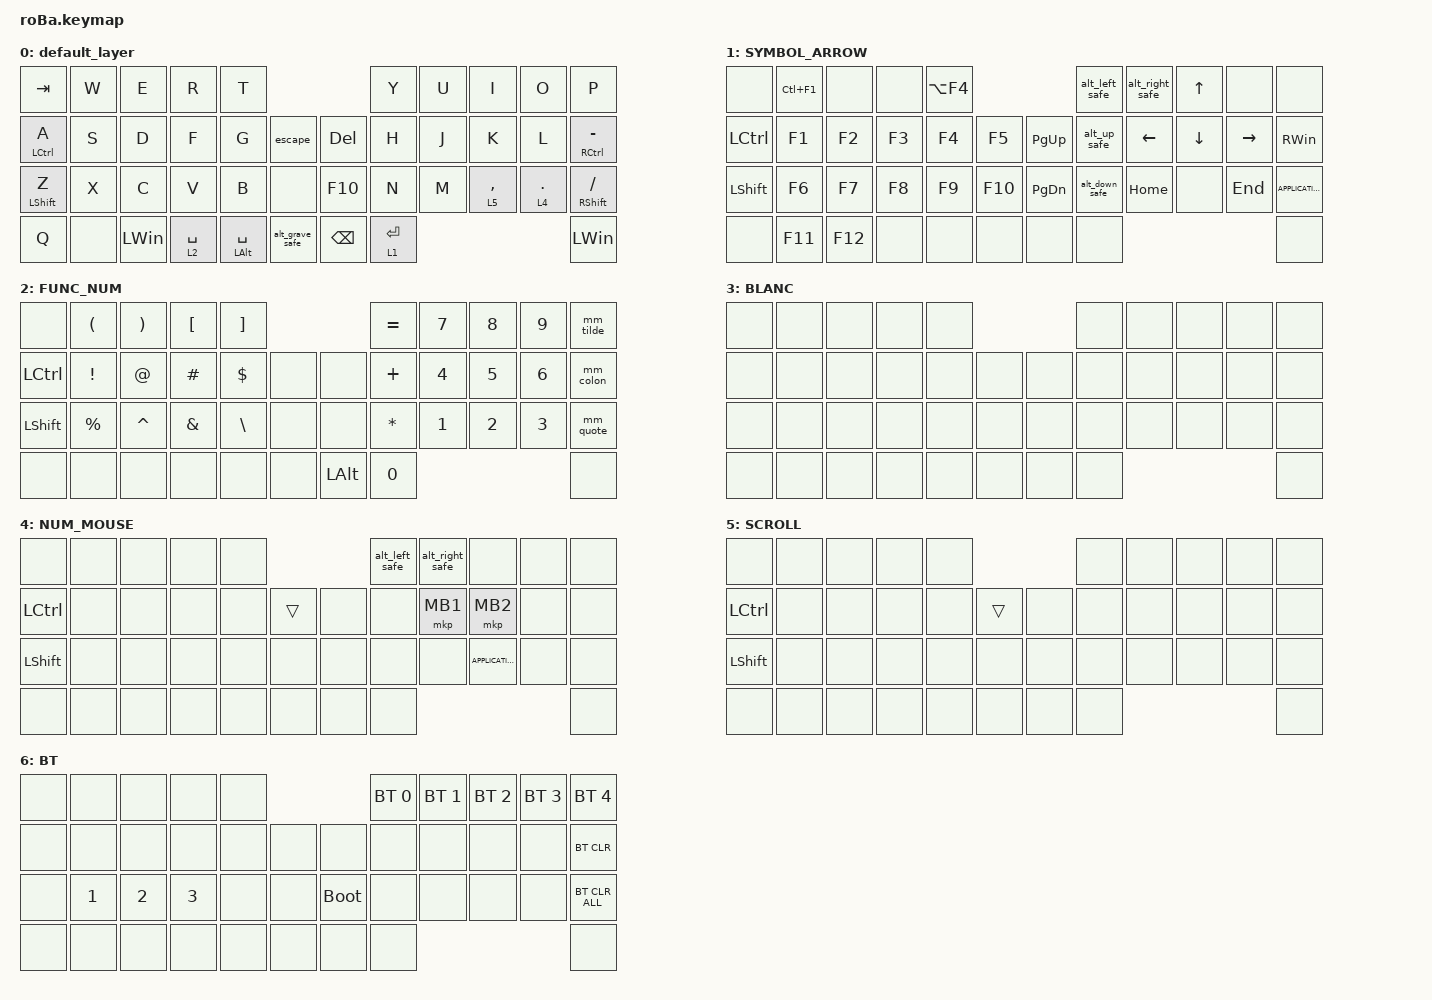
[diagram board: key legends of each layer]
#include <dt-bindings/zmk/input_transform.h>
#include <zephyr/dt-bindings/input/input-event-codes.h>
#include <behaviors.dtsi>
#include <dt-bindings/zmk/bt.h>
#include <dt-bindings/zmk/keys.h>
#include <dt-bindings/zmk/pointing.h>

/ {
    zip_xy_scaler: zip_xy_scaler {
        compatible = "zmk,input-processor-scaler";
        #input-processor-cells = <2>;
        type = <INPUT_EV_REL>;
        codes = <INPUT_REL_X INPUT_REL_Y>;
    };
};

&mt {
    flavor = "balanced";
    tapping-term-ms = <175>;
    quick-tap-ms = <0>;
};

&lt {
    flavor = "balanced";
    tapping-term-ms = <175>;
    quick-tap-ms = <0>;
};

&trackball {
    // automouse-layer = <4>;

    scroll-layers = <5>;
};

&trackball_listener {
    // &zip_xy_scaler の後ろにある数値 <分子 分母> で速度を調整できます。

    input-processors = <&zip_xy_scaler 5 4>;
};

/ {
    combos {
        compatible = "zmk,combos";

        context_menu {
            bindings = <&kp K_CONTEXT_MENU>;
            key-positions = <31 32>;
        };

        left_click {
            bindings = <&mkp MB1>;
            key-positions = <32 18>;
        };

        right_click {
            bindings = <&mkp MB2>;
            key-positions = <19 32>;
        };
    };

    macros {
        to_layer_0: to_layer_0 {
            compatible = "zmk,behavior-macro-one-param";
            #binding-cells = <1>;
            bindings = <&to 1 &macro_param_1to1 &kp MACRO_PLACEHOLDER>;
            label = "TO_LAYER_0";
        };

        KP_00: KP_00 {
            compatible = "zmk,behavior-macro";
            #binding-cells = <0>;
            bindings = <&kp N0 &kp N0>;
            label = "KP_00";
        };

        //「Alt+↓」のメニュー誤作動防止マクロ

        alt_down_safe: alt_down_safe {
            label = "alt_down_safe";
            compatible = "zmk,behavior-macro";
            #binding-cells = <0>;
            wait-ms = <0>;
            tap-ms = <10>;
            bindings =
                <&macro_press>,
                <&kp LALT>,
                <&macro_tap>,
                <&kp DOWN>,
                <&macro_pause_for_release>,
                <&macro_tap>,
                <&kp F24>,
                <&macro_release>,
                <&kp LALT>;
        };

        //「Alt+↑」のメニュー誤作動防止マクロ

        alt_up_safe: alt_up_safe {
            label = "alt_up_safe";
            compatible = "zmk,behavior-macro";
            #binding-cells = <0>;
            wait-ms = <0>;
            tap-ms = <10>;
            bindings =
                <&macro_press>,
                <&kp LALT>,
                <&macro_tap>,
                <&kp UP>,
                <&macro_pause_for_release>,
                <&macro_tap>,
                <&kp F24>,
                <&macro_release>,
                <&kp LALT>;
        };

        //「Alt+←」のメニュー誤作動防止マクロ

        alt_left_safe: alt_left_safe {
            label = "alt_left_safe";
            compatible = "zmk,behavior-macro";
            #binding-cells = <0>;
            wait-ms = <0>;
            tap-ms = <10>;
            bindings =
                <&macro_press>,
                <&kp LALT>,
                <&macro_tap>,
                <&kp LEFT>,
                <&macro_pause_for_release>,
                <&macro_tap>,
                <&kp F24>,
                <&macro_release>,
                <&kp LALT>;
        };

        //「Alt+→」のメニュー誤作動防止マクロ

        alt_right_safe: alt_right_safe {
            label = "alt_right_safe";
            compatible = "zmk,behavior-macro";
            #binding-cells = <0>;
            wait-ms = <0>;
            tap-ms = <10>;
            bindings =
                <&macro_press>,
                <&kp LALT>,
                <&macro_tap>,
                <&kp RIGHT>,
                <&macro_pause_for_release>,
                <&macro_tap>,
                <&kp F24>,
                <&macro_release>,
                <&kp LALT>;
        };

        //「Alt+`」のメニュー誤作動防止マクロ（US配列でのIME切り替え用）

        alt_grave_safe: alt_grave_safe {
            label = "alt_grave_safe";
            compatible = "zmk,behavior-macro";
            #binding-cells = <0>;
            wait-ms = <0>;
            tap-ms = <10>;
            bindings =
                <&macro_press>,
                <&kp LALT>,
                <&macro_tap>,
                <&kp GRAVE>,
                <&macro_pause_for_release>,
                <&macro_tap>,
                <&kp F24>,
                <&macro_release>,
                <&kp LALT>;
        };
    };

    behaviors {
        lt_to_layer_0: lt_to_layer_0 {
            compatible = "zmk,behavior-hold-tap";
            label = "LAYER_TAP_TO_0";
            bindings = <&mo>, <&to_layer_0>;

            #binding-cells = <2>;
            flavor = "tap-preferred";
            tapping-term-ms = <200>;
        };

        escape: escape {
            compatible = "zmk,behavior-tap-dance";
            label = "ESCAPE";
            #binding-cells = <0>;
            bindings = <&none>, <&kp ESCAPE>;

            tapping-term-ms = <200>;
        };

        // チルダキー (通常: ~ / Shift: `)

        mm_tilde: mod_morph_tilde {
            compatible = "zmk,behavior-mod-morph";
            #binding-cells = <0>;
            bindings = <&kp TILDE>, <&kp GRAVE>;

            mods = <(MOD_LSFT|MOD_RSFT)>;
        };

        // セミコロンキー (通常: : / Shift: ;)

        mm_colon: mod_morph_colon {
            compatible = "zmk,behavior-mod-morph";
            #binding-cells = <0>;
            bindings = <&kp COLON>, <&kp SEMI>;

            mods = <(MOD_LSFT|MOD_RSFT)>;
        };

        // シングルクオーテーションキー (通常: " / Shift: ')

        mm_quote: mod_morph_quote {
            compatible = "zmk,behavior-mod-morph";
            #binding-cells = <0>;
            bindings = <&kp DOUBLE_QUOTES>, <&kp SQT>;

            mods = <(MOD_LSFT|MOD_RSFT)>;
        };
    };

    keymap {
        compatible = "zmk,keymap";

        default_layer {
            bindings = <
&kp TAB           &kp W  &kp E         &kp R        &kp T                                                   &kp Y         &kp U  &kp I        &kp O         &kp P
&mt LCTRL A       &kp S  &kp D         &kp F        &kp G               &escape              &kp DELETE     &kp H         &kp J  &kp K        &kp L         &mt RCTRL MINUS
&mt LEFT_SHIFT Z  &kp X  &kp C         &kp V        &kp B               &none                &kp F10        &kp N         &kp M  &lt 5 COMMA  &lt 4 PERIOD  &mt RIGHT_SHIFT SLASH
&kp Q             &none  &kp LEFT_WIN  &lt 2 SPACE  &mt LEFT_ALT SPACE  &alt_grave_safe      &kp BACKSPACE  &lt 1 RETURN                                    &kp LEFT_WIN
            >;
        };

        SYMBOL_ARROW {
            bindings = <
&none           &kp LC(F1)  &none    &none   &kp LA(F4)                              &alt_left_safe  &alt_right_safe  &kp UP_ARROW    &none            &none
&kp LCTRL       &kp F1      &kp F2   &kp F3  &kp F4      &kp F5       &kp PAGE_UP    &alt_up_safe    &kp LEFT_ARROW   &kp DOWN_ARROW  &kp RIGHT_ARROW  &kp RIGHT_WIN
&kp LEFT_SHIFT  &kp F6      &kp F7   &kp F8  &kp F9      &kp F10      &kp PAGE_DOWN  &alt_down_safe  &kp HOME         &none           &kp END          &kp K_APPLICATION
&none           &kp F11     &kp F12  &none   &none       &none        &none          &none                                                             &none
            >;
        };

        FUNC_NUM {
            bindings = <
&none           &kp LEFT_PARENTHESIS  &kp RIGHT_PARENTHESIS  &kp LEFT_BRACKET  &kp RIGHT_BRACKET                           &kp EQUAL     &kp N7  &kp N8  &kp N9  &mm_tilde
&kp LCTRL       &kp EXCLAMATION       &kp AT_SIGN            &kp HASH          &kp DOLLAR         &none      &none         &kp PLUS      &kp N4  &kp N5  &kp N6  &mm_colon
&kp LEFT_SHIFT  &kp PERCENT           &kp CARET              &kp AMPERSAND     &kp BACKSLASH      &none      &none         &kp ASTERISK  &kp N1  &kp N2  &kp N3  &mm_quote
&none           &none                 &none                  &none             &none              &none      &kp LEFT_ALT  &kp N0                                &none
            >;
        };

        BLANC {
            bindings = <
&none  &none  &none  &none  &none                    &none  &none  &none  &none  &none
&none  &none  &none  &none  &none  &none      &none  &none  &none  &none  &none  &none
&none  &none  &none  &none  &none  &none      &none  &none  &none  &none  &none  &none
&none  &none  &none  &none  &none  &none      &none  &none                       &none
            >;
        };

        NUM_MOUSE {
            bindings = <
&none           &none  &none  &none  &none                     &alt_left_safe  &alt_right_safe  &none              &none  &none
&kp LCTRL       &none  &none  &none  &none  &trans      &none  &none           &mkp MB1         &mkp MB2           &none  &none
&kp LEFT_SHIFT  &none  &none  &none  &none  &none       &none  &none           &none            &kp K_APPLICATION  &none  &none
&none           &none  &none  &none  &none  &none       &none  &none                                                      &none
            >;
        };

        SCROLL {
            bindings = <
&none           &none  &none  &none  &none                     &none  &none  &none  &none  &none
&kp LCTRL       &none  &none  &none  &none  &trans      &none  &none  &none  &none  &none  &none
&kp LEFT_SHIFT  &none  &none  &none  &none  &none       &none  &none  &none  &none  &none  &none
&none           &none  &none  &none  &none  &none       &none  &none                       &none
            >;
        };

        BT {
            bindings = <
&none  &none         &none         &none         &none                          &bt BT_SEL 0  &bt BT_SEL 1  &bt BT_SEL 2  &bt BT_SEL 3  &bt BT_SEL 4
&none  &none         &none         &none         &none  &none      &none        &none         &none         &none         &none         &bt BT_CLR
&none  &kp NUMBER_1  &kp NUMBER_2  &kp NUMBER_3  &none  &none      &bootloader  &none         &none         &none         &none         &bt BT_CLR_ALL
&none  &none         &none         &none         &none  &none      &none        &none                                                   &none
            >;
        };
    };
};
